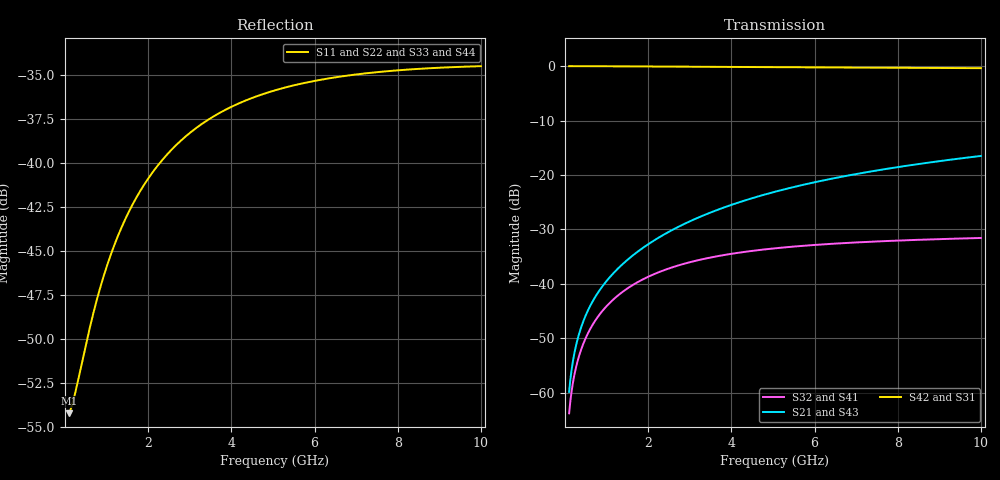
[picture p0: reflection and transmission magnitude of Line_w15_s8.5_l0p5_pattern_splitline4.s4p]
! TOUCHSTONE file generated by CST MICROWAVE STUDIO
! Date and time: Thu Oct 16 14:29:28 2014
! Project name: Untitled_1.cst
# GHZ S MA R 50
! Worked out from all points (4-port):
!   1001 points, 100 MHz to 10 GHz, reference 50 ohm
!   strongest paths, dB at 100 MHz, 2.575 GHz, 5.05 GHz, 7.525 GHz, 10 GHz:
!     S42: 0.0, -0.1, -0.2, -0.3, -0.4
!     S31: 0.0, -0.1, -0.2, -0.3, -0.4
!     S21: -59.9, -30.1, -23.1, -19.1, -16.5
!     S43: -59.9, -30.1, -23.1, -19.1, -16.5
!     S32: -63.8, -37.0, -33.5, -32.2, -31.6
!     S41: -63.8, -37.0, -33.5, -32.2, -31.6
!   lowest |S11| = -54.2 dB at 100 MHz (marker M1), VSWR 1.00, Z = 50.2 - j0.0499 ohm
!   |S11| at or under -10 dB: start of sweep to end of sweep
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0.1  0.001946 -14.8  0.001017 90.6  0.9981 -0.2  0.000646 -91.6
     0.001017 90.6  0.001946 -14.8  0.000646 -91.6  0.9981 -0.2
     0.9981 -0.2  0.000646 -91.6  0.001946 -14.8  0.001017 90.6
     0.000646 -91.6  0.9981 -0.2  0.001017 90.6  0.001946 -14.8
0.3475  0.002511 -44.5  0.003549 92.2  0.9978 -0.8  0.002225 -95.2
        0.003549 92.2  0.002511 -44.5  0.002225 -95.2  0.9978 -0.8
        0.9978 -0.8  0.002225 -95.2  0.002511 -44.5  0.003549 92.2
        0.002225 -95.2  0.9978 -0.8  0.003549 92.2  0.002511 -44.5
0.7732  0.004115 -72.5  0.00807 94.5  0.9969 -1.8  0.004868 -101.0
        0.00807 94.5  0.004115 -72.4  0.004868 -101.0  0.9969 -1.8
        0.9969 -1.8  0.004868 -101.0  0.004115 -72.4  0.00807 94.5
        0.004868 -101.0  0.9969 -1.8  0.00807 94.5  0.004115 -72.4
1.4563  0.006944 -94.7  0.01603 96.8  0.9944 -3.4  0.008819 -109.9
        0.01603 96.8  0.006945 -94.6  0.008819 -109.9  0.9944 -3.4
        0.9944 -3.4  0.008819 -109.9  0.006945 -94.6  0.01603 96.8
        0.008819 -109.9  0.9944 -3.4  0.01603 96.8  0.006945 -94.7
2.4265  0.01047 -113.8  0.029 97.5  0.9899 -5.5  0.01353 -121.3
        0.029 97.5  0.01047 -113.7  0.01353 -121.3  0.9899 -5.5
        0.9899 -5.5  0.01353 -121.3  0.01047 -113.7  0.029 97.5
        0.01353 -121.3  0.9899 -5.5  0.029 97.5  0.01047 -113.7
5.3866  0.01647 -147.6  0.07558 91.2  0.9755 -11.4  0.02178 -145.4
        0.07558 91.2  0.01643 -147.3  0.02179 -145.5  0.9755 -11.4
        0.9755 -11.4  0.02179 -145.5  0.01646 -147.4  0.07557 91.2
        0.02178 -145.4  0.9755 -11.4  0.07557 91.2  0.01649 -147.5
10  0.01881 -174.8  0.1494 78.6  0.957 -20.2  0.02632 -165.0
    0.1494 78.6  0.01867 -174.3  0.02637 -165.2  0.9571 -20.2
    0.957 -20.2  0.02637 -165.2  0.01879 -174.5  0.1494 78.6
    0.02632 -165.0  0.9571 -20.2  0.1494 78.6  0.01891 -174.6
